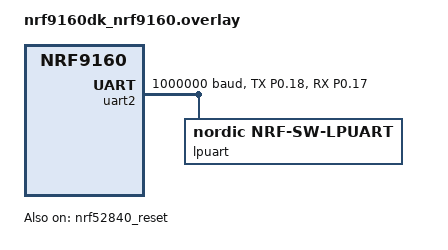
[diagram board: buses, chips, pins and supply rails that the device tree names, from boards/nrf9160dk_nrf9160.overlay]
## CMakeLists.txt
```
#
# Copyright (c) 2024 Nordic Semiconductor ASA
#
# SPDX-License-Identifier: LicenseRef-Nordic-5-Clause
#
cmake_minimum_required(VERSION 3.20.0)

find_package(Zephyr REQUIRED HINTS $ENV{ZEPHYR_BASE})
project(NONE)

# NORDIC SDK APP START
target_sources(app PRIVATE
	src/main.c)

#target_include_directories(app PRIVATE
#	include
#)

# NORDIC SDK APP END
```

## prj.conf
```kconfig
#
# Copyright (c) 2024 Nordic Semiconductor ASA
#
# SPDX-License-Identifier: LicenseRef-Nordic-5-Clause
#
#CONFIG_NCS_SAMPLES_DEFAULTS=y

CONFIG_ASSERT=y
CONFIG_ASSERT_VERBOSE=y

CONFIG_LOG=y
CONFIG_LOG_MODE_DEFERRED=y
CONFIG_LOG_BACKEND_UART=y

CONFIG_DEBUG_THREAD_INFO=y

CONFIG_LOG_PRINTK=n
CONFIG_DEBUG_INFO=y

CONFIG_EXTRA_EXCEPTION_INFO=y
CONFIG_SYS_HEAP_RUNTIME_STATS=y

# General configuration
CONFIG_SYSTEM_WORKQUEUE_STACK_SIZE=4096
CONFIG_MAIN_STACK_SIZE=8192

CONFIG_FLASH=y
CONFIG_FLASH_MAP=y
CONFIG_NVS=y
CONFIG_SETTINGS=y
CONFIG_NVS_LOOKUP_CACHE=y
CONFIG_SETTINGS_NVS_NAME_CACHE=y
CONFIG_MPU_ALLOW_FLASH_WRITE=y
CONFIG_NVS=y
CONFIG_SETTINGS_NVS=y
CONFIG_NVS_LOG_LEVEL_WRN=y

CONFIG_HWINFO=y
CONFIG_DK_LIBRARY=y
CONFIG_PM_SINGLE_IMAGE=y
CONFIG_PM_PARTITION_SIZE_SETTINGS_STORAGE=0x8000
CONFIG_SOC_FLASH_NRF_PARTIAL_ERASE=n

#UART2 towards nRF52840
CONFIG_UART_INTERRUPT_DRIVEN=y
CONFIG_NRF_SW_LPUART=y
CONFIG_NRF_SW_LPUART_INT_DRIVEN=y
CONFIG_UART_2_ASYNC=y
CONFIG_UART_2_INTERRUPT_DRIVEN=n
CONFIG_UART_2_NRF_HW_ASYNC=y
CONFIG_UART_2_NRF_HW_ASYNC_TIMER=2

CONFIG_NRF_SW_LPUART_MAX_PACKET_SIZE=255
CONFIG_NRF_SW_LPUART_INT_DRV_TX_BUF_SIZE=255

# Bluetooth configuration
CONFIG_BT=y
CONFIG_BT_DEVICE_NAME="Broadcaster"

CONFIG_BT_H4=y
CONFIG_BT_HCI=y

CONFIG_BT_WAIT_NOP=y

CONFIG_BT_L2CAP_TX_BUF_COUNT=8
CONFIG_BT_L2CAP_TX_MTU=33

CONFIG_BT_OBSERVER=y
CONFIG_BT_PERIPHERAL=y
CONFIG_BT_BROADCASTER=y
CONFIG_BT_SETTINGS=y
CONFIG_BT_RX_STACK_SIZE=2700

CONFIG_BT_BUF_EVT_RX_SIZE=255
CONFIG_BT_BUF_EVT_RX_COUNT=10
CONFIG_BT_BUF_EVT_DISCARDABLE_SIZE=58
CONFIG_BT_BUF_EVT_DISCARDABLE_COUNT=20
CONFIG_BT_BUF_CMD_TX_SIZE=255

CONFIG_BT_EXT_ADV=y
CONFIG_BT_EXT_ADV_MAX_ADV_SET=5

CONFIG_BT_BUF_ACL_TX_SIZE=37
CONFIG_BT_BUF_ACL_RX_SIZE=37


CONFIG_BT_PERIPHERAL=y
CONFIG_BT_BROADCASTER=y
#CONFIG_BT_CENTRAL=y
CONFIG_BT_OBSERVER=y
CONFIG_BT_PHY_UPDATE=n
CONFIG_BT_DATA_LEN_UPDATE=n

CONFIG_BT_HOST_CCM=y

CONFIG_LOG=y

CONFIG_RESET_ON_FATAL_ERROR=n

CONFIG_INIT_STACKS=y

CONFIG_PM_DEVICE=y

CONFIG_SHELL=y
CONFIG_SHELL_WILDCARD=n
CONFIG_SHELL_PROMPT_UART="mosh:~$ "
CONFIG_SHELL_ARGC_MAX=40
# -h and --help options are handled in Modem Shell
CONFIG_SHELL_HELP_OPT_PARSE=n
# Command line buffer is set this large to enable writing of certificates and injecting A-GNSS data on command line.
CONFIG_SHELL_CMD_BUFF_SIZE=3584
# Shell stack has impact for modem shell application, not CONFIG_MAIN_STACK_SIZE
CONFIG_SHELL_STACK_SIZE=9216
# Shell RX buffer needs to be increased to avoid problems with test automation
CONFIG_SHELL_BACKEND_SERIAL_RX_RING_BUFFER_SIZE=512
CONFIG_SHELL_BACKEND_SERIAL_API_INTERRUPT_DRIVEN=y

CONFIG_DEBUG_THREAD_INFO=y

CONFIG_PM_PARTITION_SIZE_SETTINGS_STORAGE=0x2000

CONFIG_NULL_POINTER_EXCEPTION_DETECTION_MPU=y
```

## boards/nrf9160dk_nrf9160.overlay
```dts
/*
 * Copyright (c) 2024 Nordic Semiconductor ASA
 *
 * SPDX-License-Identifier: LicenseRef-Nordic-5-Clause
 */

/ {
	chosen {
		zephyr,bt-uart=&lpuart;
	};
};

&gpiote0 {
	interrupts = <13 NRF_DEFAULT_IRQ_PRIORITY>;
};

&uart2 {
	current-speed = <1000000>;
	status = "okay";
	/delete-property/ rts-pin;
	/delete-property/ cts-pin;
	/delete-property/ hw-flow-control;

	pinctrl-0 = <&uart2_default_alt>;
	pinctrl-1 = <&uart2_sleep_alt>;
	lpuart: nrf-sw-lpuart {
		compatible = "nordic,nrf-sw-lpuart";
		status = "okay";
		req-pin = <21>; /* <&interface_to_nrf52840 3 0>; */
		rdy-pin = <19>; /* <&interface_to_nrf52840 2 0>; */
	};
};
&uart1 {
	status = "disabled";
};

&pinctrl {
	uart2_default_alt: uart2_default_alt {
		group1 {
			psels = <NRF_PSEL(UART_TX, 0, 18)>,
				<NRF_PSEL(UART_RX, 0, 17)>;
		};
	};

	uart2_sleep_alt: uart2_sleep_alt {
		group1 {
			psels = <NRF_PSEL(UART_TX, 0, 18)>,
				<NRF_PSEL(UART_RX, 0, 17)>;
			low-power-enable;
		};
	};
};

&nrf52840_reset {
 status = "okay";
 gpios = <&interface_to_nrf52840 9 (1 << 0)>;
};
```

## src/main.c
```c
/*
 * Copyright (c) 2024 Nordic Semiconductor ASA
 *
 * SPDX-License-Identifier: LicenseRef-Nordic-5-Clause
 */

#include <zephyr/init.h>

#include <zephyr/bluetooth/bluetooth.h>
#include <zephyr/bluetooth/conn.h>

#include <zephyr/settings/settings.h>

#define BT_DATA_MESH_MESSAGE            0x2a /**< Mesh Networking PDU */

static void pending_adv_start(struct k_work *work);
static K_WORK_DEFINE(pending_adv, pending_adv_start);

static struct bt_le_ext_adv *adv;
static struct bt_le_adv_param adv_params = {
	.id = BT_ID_DEFAULT,
	.sid = 0,
	.secondary_max_skip = 0,
	.options = BT_LE_ADV_OPT_USE_NAME,
	.interval_min = (20 * 8) / 5,
	.interval_max = (20 * 8) / 5,
	.peer = NULL
};

int adv_send(void)
{
	static uint8_t data[] = "12345";

	struct bt_data ad;
	int err;

	struct bt_le_ext_adv_start_param start = {
		.num_events = 1,
	};

	ad.type = BT_DATA_MESH_MESSAGE;
	ad.data_len = sizeof(data);
	ad.data = data;

	err = bt_le_ext_adv_set_data(adv, &ad, 1, NULL, 0);
	if (err) {
		printk("Setting adv data failed (err %d)\n", err);
		return err;
	}

	err = bt_le_ext_adv_start(adv, &start);
	if (err) {
		printk("Starting advertising failed (err %d)\n", err);
	}

	return err;
}

static void pending_adv_start(struct k_work *work)
{
	int err;

	err = adv_send();
	if (err) {
		printk("Failed to send adv: %d\n", err);
	}
}

static void adv_sent(struct bt_le_ext_adv *instance,
		     struct bt_le_ext_adv_sent_info *info)
{
	k_work_submit(&pending_adv);
}

static void scan_cb(const bt_addr_le_t *addr, int8_t rssi,
		    uint8_t adv_type, struct net_buf_simple *buf)
{
}

int scan_enable(void)
{
	struct bt_le_scan_param scan_param = {
		.type = BT_HCI_LE_SCAN_PASSIVE,
		.interval = (30 * 8) / 5,
		.window = (30 * 8) / 5,
	};
	int err;

	err = bt_le_scan_start(&scan_param, scan_cb);
	if (err) {
		printk("starting scan failed (err %d)", err);
	}

	return err;
}

static void settings_work_handler(struct k_work *work);
static K_WORK_DELAYABLE_DEFINE(settings_work, settings_work_handler);
static void settings_work_handler(struct k_work *work)
{
	uint8_t idx[100];
	static int i;
	int err;

	for (int j = 0; j < 100; j++) {
		idx[j] = i;
	}

	i++;

	err = settings_save_one("app/tmp", &idx, sizeof(idx));
	if (err) {
		printk("settings_save_one failed: %d\n", err);
	}

	k_work_reschedule(&settings_work, K_MSEC(100));
}

static int start(void)
{
	static const struct bt_le_ext_adv_cb adv_cb = {
		.sent = adv_sent,
	};
	int err;

	err = bt_le_ext_adv_create(&adv_params, &adv_cb, &adv);
	if (err) {
		printk("Creating adv instance failed (err %d)\n", err);
		return err;
	}

	printk("Adv ext created\n");

	scan_enable();

	k_work_submit(&pending_adv);

	printk("First adv sent\n");

	k_work_schedule(&settings_work, K_MSEC(100));

	return err;
}

static void bt_ready(int err)
{
	if (err) {
		printk("Bluetooth init failed (err %d)\n", err);
		return;
	}

	if (IS_ENABLED(CONFIG_SETTINGS)) {
		settings_load();
	}

	printk("Bluetooth initialized\n");

	err = start();
	if (err) {
		printk("Failed to start sample: %d\n", err);
	}
}

int main(void)
{
	int err;

	printk("Initializing...\n");

	err = bt_enable(bt_ready);
	if (err) {
		printk("Bluetooth init failed (err %d)\n", err);
	}

	return 0;
}
```
